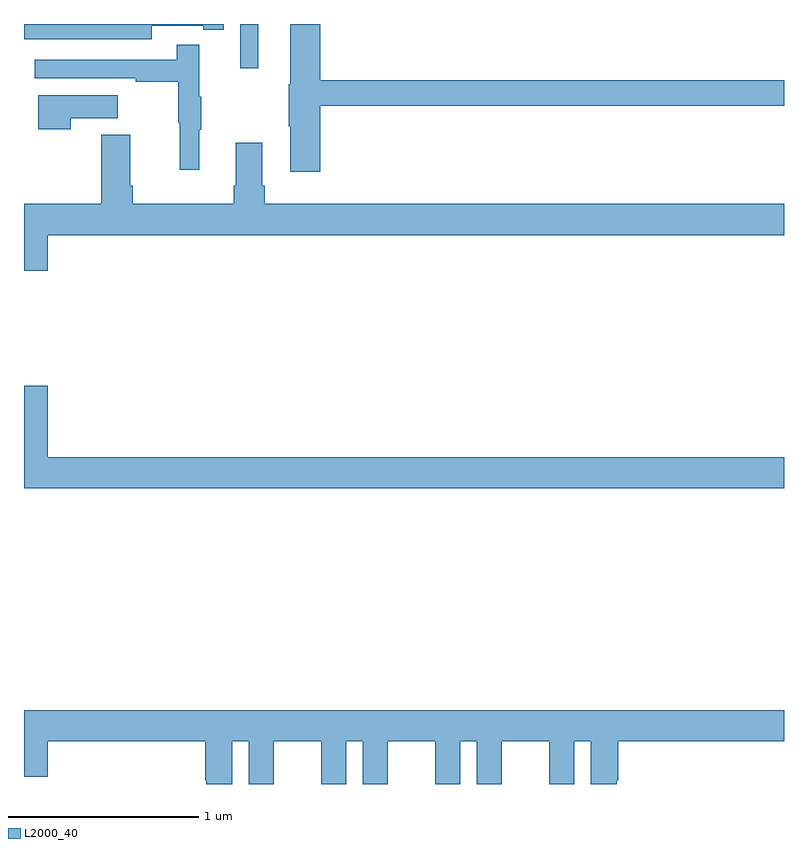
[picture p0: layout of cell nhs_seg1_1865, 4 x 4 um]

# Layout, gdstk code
import gdstk
lib = gdstk.Library(unit=1e-6, precision=1e-09)
def R(c, l, rs):  # rectangles x0, y0, x1, y1
    for r in rs: c.add(gdstk.rectangle(r[:2], r[2:], *l))
def P(c, l, *ps):  # polygons
    for p in ps: c.add(gdstk.Polygon(p, *l))
L2000_40 = (2000, 40)

nhs_seg1_1865 = lib.new_cell('nhs_seg1_1865')
R(nhs_seg1_1865, L2000_40, [(214.137,529.965,214.234,530.199)])
P(nhs_seg1_1865, L2000_40, [(213.672,530.19),(213.944,530.19),(213.944,530.17),(214.052,530.17),(214.052,530.199),(213,530.199),(213,530.118),(213.672,530.118)],
  [(214.559,529.768),(217,529.768),(217,529.904),(214.559,529.904),(214.559,530.199),(214.4,530.199),(214.4,529.881),(214.393,529.881),(214.393,529.66),(214.4,529.66),(214.4,529.422),(214.559,529.422)],
  [(213.923,529.643),(213.934,529.643),(213.934,529.817),(213.923,529.817),(213.923,530.089),(213.805,530.089),(213.805,530.01),(213.057,530.01),(213.057,529.914),(213.589,529.914),(213.589,529.894),(213.813,529.894),(213.813,529.68),(213.82,529.68),(213.82,529.431),(213.923,529.431)],
  [(213.245,529.703),(213.493,529.703),(213.493,529.825),(213.074,529.825),(213.074,529.644),(213.245,529.644)],
  [(213.124,529.088),(217,529.088),(217,529.252),(214.268,529.252),(214.268,529.348),(214.255,529.348),(214.255,529.573),(214.115,529.573),(214.115,529.348),(214.103,529.348),(214.103,529.252),(213.572,529.252),(213.572,529.348),(213.559,529.348),(213.559,529.615),(213.407,529.615),(213.407,529.252),(213,529.252),(213,528.9),(213.124,528.9)],
  [(217,527.92),(213.124,527.92),(213.124,528.295),(213,528.295),(213,527.756),(217,527.756)],
  [(214.096,526.424),(214.184,526.424),(214.184,526.199),(214.315,526.199),(214.315,526.424),(214.565,526.424),(214.565,526.199),(214.696,526.199),(214.696,526.424),(214.784,526.424),(214.784,526.199),(214.915,526.199),(214.915,526.424),(215.165,526.424),(215.165,526.199),(215.296,526.199),(215.296,526.424),(215.384,526.424),(215.384,526.199),(215.515,526.199),(215.515,526.424),(215.765,526.424),(215.765,526.199),(215.896,526.199),(215.896,526.424),(215.984,526.424),(215.984,526.199),(216.121,526.199),(216.121,526.219),(216.128,526.219),(216.128,526.424),(217,526.424),(217,526.588),(213,526.588),(213,526.236),(213.124,526.236),(213.124,526.424),(213.953,526.424),(213.953,526.219),(213.959,526.219),(213.959,526.199),(214.096,526.199)])

lib.write_gds('nhs_seg1_1865.gds')
